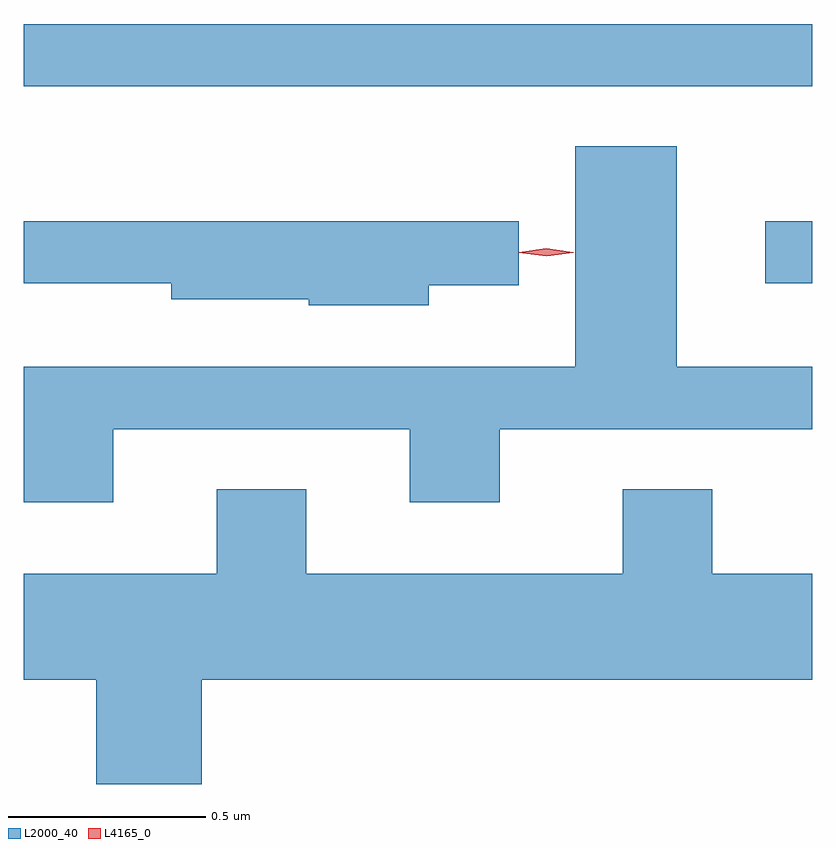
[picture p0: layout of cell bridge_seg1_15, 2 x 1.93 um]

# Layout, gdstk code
import gdstk
lib = gdstk.Library(unit=1e-6, precision=1e-09)
def R(c, l, rs):  # rectangles x0, y0, x1, y1
    for r in rs: c.add(gdstk.rectangle(r[:2], r[2:], *l))
def P(c, l, *ps):  # polygons
    for p in ps: c.add(gdstk.Polygon(p, *l))
L2000_40 = (2000, 40)
L4165_0 = (4165, 0)

bridge_seg1_15 = lib.new_cell('bridge_seg1_15')
R(bridge_seg1_15, L2000_40, [(1635.353,869.501,1635.472,869.659), (1633.472,870.001,1635.472,870.159)])
P(bridge_seg1_15, L2000_40, [(1633.699,869.131),(1634.451,869.131),(1634.451,868.946),(1634.679,868.946),(1634.679,869.131),(1635.472,869.131),(1635.472,869.289),(1635.129,869.289),(1635.129,869.849),(1634.871,869.849),(1634.871,869.289),(1633.472,869.289),(1633.472,868.946),(1633.699,868.946)],
  [(1634.499,869.496),(1634.728,869.496),(1634.728,869.659),(1633.472,869.659),(1633.472,869.501),(1633.846,869.501),(1633.846,869.461),(1634.195,869.461),(1634.195,869.446),(1634.499,869.446)],
  [(1633.924,868.496),(1635.472,868.496),(1635.472,868.764),(1635.219,868.764),(1635.219,868.979),(1634.991,868.979),(1634.991,868.764),(1634.189,868.764),(1634.189,868.979),(1633.961,868.979),(1633.961,868.764),(1633.472,868.764),(1633.472,868.496),(1633.656,868.496),(1633.656,868.231),(1633.924,868.231)])
P(bridge_seg1_15, L4165_0, [(1634.798,869.57),(1634.728,869.579),(1634.728,869.579),(1634.728,869.58),(1634.797,869.59),(1634.866,869.58),(1634.867,869.58),(1634.866,869.579)])

lib.write_gds('bridge_seg1_15.gds')
